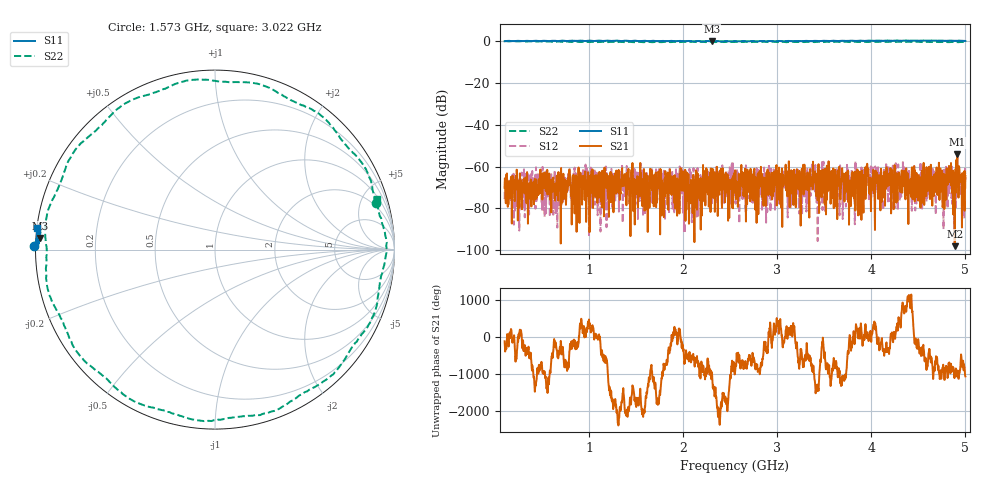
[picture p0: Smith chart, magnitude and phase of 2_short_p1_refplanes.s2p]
!Keysight Technologies N9917A: A.12.46
! "!Date: Thursday, 09 November 2023 20:32:33"
!Timezone: (UTC-03:00) Buenos Aires
!Model: N9917A
!Serial: MY56072049
!GPS Latitude:
!GPS Longitude:
!GPS TimeStamp: 0001-01-01 00:00:00Z
!GPS Seconds Since Last Read: 0
!CHECKSUM:0847198808
!Correction: S11(ON U)S21(ON U)S12(ON U)S22(ON U)
! "!S2P File: Measurements:S11,S21,S12,S22:"
# Hz S DB R 50
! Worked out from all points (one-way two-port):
!   1601 points, 100 MHz to 5 GHz, reference 50 ohm
!   highest |S21| = -54.20 dB at 4.914 GHz (marker M1); lowest = -98.0 dB at 4.887 GHz (marker M2)
!   lowest |S11| = -0.2 dB at 2.302 GHz (marker M3), VSWR 79.03, Z = 0.633 + j1.66 ohm
!   |S11| at or under -10 dB: nowhere
!   |S22| runs from -0.6 to 0.0 dB; largest |S21 - S12| = 0.0021
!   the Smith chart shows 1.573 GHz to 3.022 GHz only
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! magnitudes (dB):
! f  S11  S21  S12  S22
! 100 MHz  -0.1  -70.1  -75.5  0.0
! 917.7 MHz  0.1  -68.3  -75.4  -0.5
! 1.735 GHz  -0.1  -62.3  -64.0  -0.5
! 1.91 GHz  -0.1  -64.1  -71.4  -0.4
! 2.302 GHz  -0.2  -69.2  -61.5  -0.4
! 2.55 GHz  -0.1  -68.7  -65.4  -0.5
! 2.685 GHz  -0.2  -68.7  -72.4  -0.4
! 2.853 GHz  -0.1  -76.0  -65.7  -0.4
! 3.083 GHz  -0.1  -67.6  -67.2  -0.5
! 3.126 GHz  0.0  -65.9  -72.1  -0.5
! 3.169 GHz  -0.1  -72.7  -61.0  -0.4
! 3.248 GHz  -0.1  -88.2  -62.7  -0.4
! 3.368 GHz  -0.1  -65.2  -58.1  -0.5
! 3.518 GHz  0.0  -82.8  -64.6  -0.4
! 3.567 GHz  0.0  -77.7  -63.4  -0.5
! 3.714 GHz  0.0  -76.7  -63.8  -0.4
! 4.185 GHz  0.2  -69.0  -60.4  -0.4
! 4.773 GHz  0.1  -68.3  -64.9  -0.5
! 4.832 GHz  0.2  -67.2  -62.9  -0.6
! 4.887 GHz  0.0  -98.0  -71.9  -0.5
! 4.914 GHz  0.1  -54.2  -66.1  -0.6
! 5 GHz  0.0  -64.4  -66.3  -0.6
